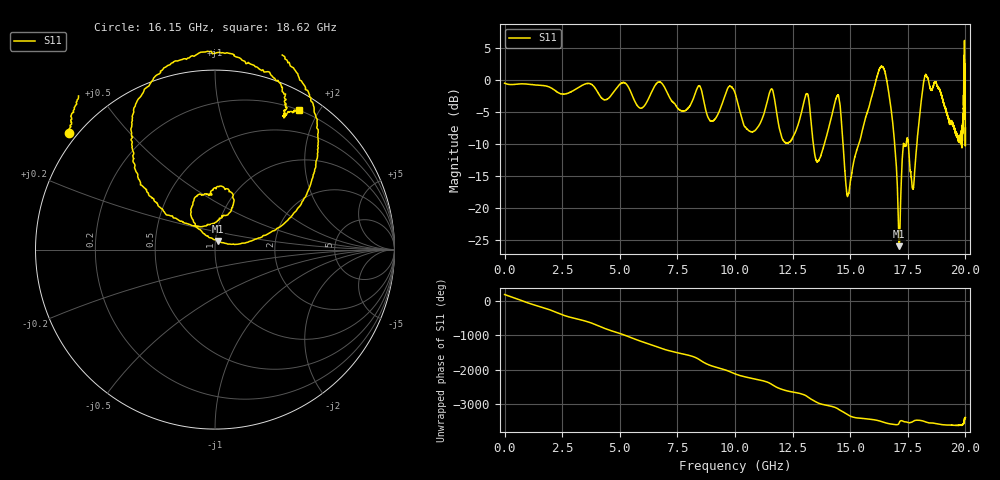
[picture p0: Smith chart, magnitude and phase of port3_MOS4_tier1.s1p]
! Created with skrf 1.8.0 (http://scikit-rf.org).
# GHz S RI R 50.0
!freq ReS11 ImS11
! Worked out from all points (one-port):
!   10001 points, 1 MHz to 20 GHz, reference 50 ohm
!   lowest |S11| = -25.9 dB at 17.13 GHz (marker M1), VSWR 1.11, Z = 51.4 + j4.94 ohm
!   |S11| at or under -10 dB: 13.4 GHz to 13.88 GHz (474.9 MHz wide, 3.48 % of centre); 14.69 GHz to 15.37 GHz (680 MHz wide, 4.52 % of centre); 16.93 GHz to 17.31 GHz (376.7 MHz wide, 2.2 % of centre) (the widest 3 of 10)
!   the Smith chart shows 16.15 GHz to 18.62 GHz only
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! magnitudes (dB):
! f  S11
! 1 MHz  -0.5
! 2.501 GHz  -2.2
! 5.001 GHz  -0.7
! 5.917 GHz  -4.4
! 6.755 GHz  -0.4
! 7.501 GHz  -4.3
! 8.449 GHz  -0.9
! 9.017 GHz  -6.4
! 9.719 GHz  -1.1
! 10 GHz  -2.0
! 10.75 GHz  -8.1
! 11.6 GHz  -1.4
! 12.06 GHz  -9.2
! 12.5 GHz  -9.0
! 13.12 GHz  -2.2
! 13.62 GHz  -12.7
! 14.45 GHz  -2.4
! 14.84 GHz  -17.3
! 15 GHz  -16.0
! 16.39 GHz  2.0
! 16.8 GHz  -5.3
! 17.13 GHz  -25.9
! 17.32 GHz  -10.1
! 17.5 GHz  -9.2
! 17.74 GHz  -16.8
! 18.28 GHz  0.8
! 19.72 GHz  -9.2
! 20 GHz  -7.5
